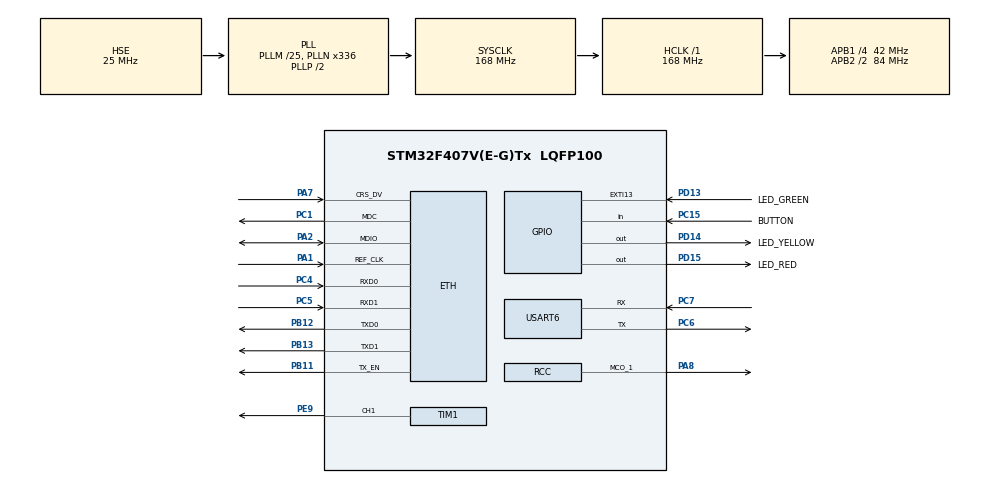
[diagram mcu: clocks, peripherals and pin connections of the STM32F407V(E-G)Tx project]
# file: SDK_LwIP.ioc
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ETH.MediaInterface=ETH_MEDIA_INTERFACE_RMII
ETH.PhyAddress=0
FREERTOS.Tasks01=tcpEcho,0,128,startTcpEcho,Default,NULL,Dynamic,NULL,NULL;loopbackConn,0,128,startLoopbackConn,Default,NULL,Dynamic,NULL,NULL
FREERTOS.configTOTAL_HEAP_SIZE=20000
LWIP.CMSIS_VERSION-Enabled=1
LWIP.GATEWAY_ADDRESS=000.000.000.000
LWIP.IP_ADDRESS=169.254.008.045
LWIP.LWIP_DHCP=0
LWIP.LWIP_HTTPD=0
LWIP.LWIP_NETIF_LOOPBACK=1
LWIP.NETMASK_ADDRESS=255.255.000.000
LWIP.Version=v2.0.3_Cube
Mcu.Family=STM32F4
Mcu.Name=STM32F407V(E-G)Tx
Mcu.Package=LQFP100
NVIC.ETH_IRQn=true\:5\:0\:false\:false\:true\:true\:false\:true\:true
NVIC.PriorityGroup=NVIC_PRIORITYGROUP_4
NVIC.TIM8_UP_TIM13_IRQn=true\:0\:0\:false\:false\:true\:false\:false\:true\:true
NVIC.TimeBase=TIM8_UP_TIM13_IRQn
NVIC.TimeBaseIP=TIM8
NVIC.USART6_IRQn=true\:5\:0\:false\:false\:true\:true\:true\:true\:true
PA1.Mode=RMII
PA1.Signal=ETH_REF_CLK
PA13.Mode=JTAG_5_pins
PA13.Signal=SYS_JTMS-SWDIO
PA14.Mode=JTAG_5_pins
PA14.Signal=SYS_JTCK-SWCLK
PA15.Mode=JTAG_5_pins
PA15.Signal=SYS_JTDI
PA2.Mode=RMII
PA2.Signal=ETH_MDIO
PA7.Mode=RMII
PA7.Signal=ETH_CRS_DV
PA8.Mode=Clock-out-1
PA8.Signal=RCC_MCO_1
PB11.Mode=RMII
PB11.Signal=ETH_TX_EN
PB12.Mode=RMII
PB12.Signal=ETH_TXD0
PB13.Mode=RMII
PB13.Signal=ETH_TXD1
PB3.Mode=JTAG_5_pins
PB3.Signal=SYS_JTDO-SWO
PB4.Mode=JTAG_5_pins
PB4.Signal=SYS_JTRST
PB8.Signal=I2C1_SCL
PB9.Signal=I2C1_SDA
PC1.Mode=RMII
PC1.Signal=ETH_MDC
PC15-OSC32_OUT.GPIO_Label=BUTTON
PC15-OSC32_OUT.Signal=GPIO_Input
PC4.Mode=RMII
PC4.Signal=ETH_RXD0
PC5.Mode=RMII
PC5.Signal=ETH_RXD1
PC6.Mode=Asynchronous
PC6.Signal=USART6_TX
PC7.Mode=Asynchronous
PC7.Signal=USART6_RX
PD13.GPIO_Label=LED_GREEN
PD13.Signal=GPXTI13
PD14.GPIO_Label=LED_YELLOW
PD14.Signal=GPIO_Output
PD15.GPIO_Label=LED_RED
PD15.Signal=GPIO_Output
PE9.Signal=S_TIM1_CH1
PH0-OSC_IN.Mode=HSE-External-Oscillator
PH0-OSC_IN.Signal=RCC_OSC_IN
PH1-OSC_OUT.Mode=HSE-External-Oscillator
PH1-OSC_OUT.Signal=RCC_OSC_OUT
ProjectManager.HeapSize=0x200
ProjectManager.StackSize=0x400
ProjectManager.TargetToolchain=STM32CubeIDE
RCC.48MHZClocksFreq_Value=84000000
RCC.AHBFreq_Value=168000000
RCC.APB1CLKDivider=RCC_HCLK_DIV4
RCC.APB1Freq_Value=42000000
RCC.APB1TimFreq_Value=84000000
RCC.APB2CLKDivider=RCC_HCLK_DIV2
RCC.APB2Freq_Value=84000000
RCC.APB2TimFreq_Value=168000000
RCC.CortexFreq_Value=168000000
RCC.EnbaleCSS=true
RCC.HCLKFreq_Value=168000000
RCC.HSE_VALUE=25000000
RCC.HSI_VALUE=16000000
RCC.LSE_VALUE=32768
RCC.PLLM=25
RCC.PLLN=336
RCC.PLLSourceVirtual=RCC_PLLSOURCE_HSE
RCC.RCC_MCO1Source=RCC_MCO1SOURCE_HSE
RCC.SYSCLKFreq_VALUE=168000000
RCC.SYSCLKSource=RCC_SYSCLKSOURCE_PLLCLK
RCC.VCOOutputFreq_Value=336000000
SH.S_TIM1_CH1.0=TIM1_CH1,PWM Generation1 CH1
TIM1.Channel-PWM\ Generation1\ CH1=TIM_CHANNEL_1
TIM1.Period=20
USART6.VirtualMode=VM_ASYNC
VP_FREERTOS_VS_CMSIS_V1.Mode=CMSIS_V1
VP_LWIP_VS_Enabled.Mode=Enabled
VP_SYS_VS_tim8.Mode=TIM8
VP_TIM1_VS_ClockSourceINT.Mode=Internal
board=custom

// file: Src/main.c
/* USER CODE BEGIN Header */
/**
  ******************************************************************************
  * @file           : main.c
  * @brief          : Main program body
  ******************************************************************************
  * @attention
  *
  * <h2><center>&copy; Copyright (c) 2019 STMicroelectronics.
  * All rights reserved.</center></h2>
  *
  * This software component is licensed by ST under Ultimate Liberty license
  * SLA0044, the "License"; You may not use this file except in compliance with
  * the License. You may obtain a copy of the License at:
  *                             www.st.com/SLA0044
  *
  ******************************************************************************
  */
/* USER CODE END Header */

#include "main.h"
#include "cmsis_os.h"
#include "lwip.h"
#include "tim.h"
#include "usart.h"
#include "gpio.h"

void SystemClock_Config(void);
void MX_FREERTOS_Init(void);

int main(void)
{

  /* MCU Configuration--------------------------------------------------------*/

  /* Reset of all peripherals, Initializes the Flash interface and the Systick. */
  HAL_Init();

  /* Configure the system clock */
  SystemClock_Config();

  /* Initialize all configured peripherals */
  MX_GPIO_Init();
  MX_USART6_UART_Init();
  MX_TIM1_Init();

  /* Call init function for freertos objects (in freertos.c) */
  MX_FREERTOS_Init();

  /* Start scheduler */
  osKernelStart();

  /* We should never get here as control is now taken by the scheduler */

  /* Infinite loop */
  while (1)
  {

  }
}

void SystemClock_Config(void)
{
  RCC_OscInitTypeDef RCC_OscInitStruct = {0};
  RCC_ClkInitTypeDef RCC_ClkInitStruct = {0};

  /** Configure the main internal regulator output voltage
  */
  __HAL_RCC_PWR_CLK_ENABLE();
  __HAL_PWR_VOLTAGESCALING_CONFIG(PWR_REGULATOR_VOLTAGE_SCALE1);
  /** Initializes the CPU, AHB and APB busses clocks
  */
  RCC_OscInitStruct.OscillatorType = RCC_OSCILLATORTYPE_HSE;
  RCC_OscInitStruct.HSEState = RCC_HSE_ON;
  RCC_OscInitStruct.PLL.PLLState = RCC_PLL_ON;
  RCC_OscInitStruct.PLL.PLLSource = RCC_PLLSOURCE_HSE;
  RCC_OscInitStruct.PLL.PLLM = 25;
  RCC_OscInitStruct.PLL.PLLN = 336;
  RCC_OscInitStruct.PLL.PLLP = RCC_PLLP_DIV2;
  RCC_OscInitStruct.PLL.PLLQ = 4;
  if (HAL_RCC_OscConfig(&RCC_OscInitStruct) != HAL_OK)
  {
    Error_Handler();
  }
  /** Initializes the CPU, AHB and APB busses clocks
  */
  RCC_ClkInitStruct.ClockType = RCC_CLOCKTYPE_HCLK|RCC_CLOCKTYPE_SYSCLK
                              |RCC_CLOCKTYPE_PCLK1|RCC_CLOCKTYPE_PCLK2;
  RCC_ClkInitStruct.SYSCLKSource = RCC_SYSCLKSOURCE_PLLCLK;
  RCC_ClkInitStruct.AHBCLKDivider = RCC_SYSCLK_DIV1;
  RCC_ClkInitStruct.APB1CLKDivider = RCC_HCLK_DIV4;
  RCC_ClkInitStruct.APB2CLKDivider = RCC_HCLK_DIV2;

  if (HAL_RCC_ClockConfig(&RCC_ClkInitStruct, FLASH_LATENCY_5) != HAL_OK)
  {
    Error_Handler();
  }
  HAL_RCC_MCOConfig(RCC_MCO1, RCC_MCO1SOURCE_HSE, RCC_MCODIV_1);
  /** Enables the Clock Security System
  */
  HAL_RCC_EnableCSS();
}

void HAL_TIM_PeriodElapsedCallback(TIM_HandleTypeDef *htim)
{
  if (htim->Instance == TIM8) {
    HAL_IncTick();
  }
}

void Error_Handler(void)
{
}

/************************ (C) COPYRIGHT STMicroelectronics *****END OF FILE****/

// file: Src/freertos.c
/* USER CODE BEGIN Header */
/**
  ******************************************************************************
  * File Name          : freertos.c
  * Description        : Code for freertos applications
  ******************************************************************************
  * @attention
  *
  * <h2><center>&copy; Copyright (c) 2023 STMicroelectronics.
  * All rights reserved.</center></h2>
  *
  * This software component is licensed by ST under Ultimate Liberty license
  * SLA0044, the "License"; You may not use this file except in compliance with
  * the License. You may obtain a copy of the License at:
  *                             www.st.com/SLA0044
  *
  ******************************************************************************
  */
/* USER CODE END Header */

#include "FreeRTOS.h"
#include "task.h"
#include "main.h"
#include "cmsis_os.h"

/* USER CODE BEGIN Includes */
#include "lwip/opt.h"
#include "lwip/sys.h"
#include "lwip/api.h"
#include "string.h"
#include "usart.h"
#include "packet_handler.h"
#include "hardware/led.h"
#include "hardware/button.h"
#include "hardware/buzzer.h"
#include "hardware/uart.h"
#include "rr.h"
/* USER CODE END Includes */

/* USER CODE BEGIN PD */
#define REPLAY 0
/* USER CODE END PD */

/* USER CODE BEGIN Variables */
uint8_t commandNumber = 12;
Command commands[12];

Led ledRed;
Led ledYellow;
Led ledGreen;
Button button;
/* USER CODE END Variables */
osThreadId tcpEchoHandle;
osThreadId loopbackConnHandle;

void startTcpEcho(void const * argument);
void startLoopbackConn(void const * argument);

extern void MX_LWIP_Init(void);
void MX_FREERTOS_Init(void); /* (MISRA C 2004 rule 8.1) */

/* GetIdleTaskMemory prototype (linked to static allocation support) */
void vApplicationGetIdleTaskMemory( StaticTask_t **ppxIdleTaskTCBBuffer, StackType_t **ppxIdleTaskStackBuffer, uint32_t *pulIdleTaskStackSize );

/* USER CODE BEGIN GET_IDLE_TASK_MEMORY */
static StaticTask_t xIdleTaskTCBBuffer;
static StackType_t xIdleStack[configMINIMAL_STACK_SIZE];

void vApplicationGetIdleTaskMemory( StaticTask_t **ppxIdleTaskTCBBuffer, StackType_t **ppxIdleTaskStackBuffer, uint32_t *pulIdleTaskStackSize )
{
  *ppxIdleTaskTCBBuffer = &xIdleTaskTCBBuffer;
  *ppxIdleTaskStackBuffer = &xIdleStack[0];
  *pulIdleTaskStackSize = configMINIMAL_STACK_SIZE;
  /* place for user code */
}
/* USER CODE END GET_IDLE_TASK_MEMORY */

void MX_FREERTOS_Init(void) {
  /* USER CODE BEGIN Init */
  ledInit(&ledRed, LED_RED_GPIO_Port, LED_RED_Pin);
  ledInit(&ledYellow, LED_YELLOW_GPIO_Port, LED_YELLOW_Pin);
  ledInit(&ledGreen, LED_GREEN_GPIO_Port, LED_GREEN_Pin);

  buttonInit(&button, BUTTON_GPIO_Port, BUTTON_Pin);

  commandCreate(&commands[0], LED_RED_GET_STATE, ledGetState, &ledRed);
  commandCreate(&commands[1], LED_RED_ON, ledSetOn, &ledRed);
  commandCreate(&commands[2], LED_RED_OFF, ledSetOff, &ledRed);
  commandCreate(&commands[3], LED_YELLOW_GET_STATE, ledGetState, &ledYellow);
  commandCreate(&commands[4], LED_YELLOW_ON, ledSetOn, &ledYellow);
  commandCreate(&commands[5], LED_YELLOW_OFF, ledSetOff, &ledYellow);
  commandCreate(&commands[6], LED_GREEN_GET_STATE, ledGetState, &ledGreen);
  commandCreate(&commands[7], LED_GREEN_ON, ledSetOn, &ledGreen);
  commandCreate(&commands[8], LED_GREEN_OFF, ledSetOff, &ledGreen);
  commandCreate(&commands[9], BUTTON_GET_STATE, buttonGetState, &button);
  commandCreate(&commands[10], BUZZER_ON, BuzzerSetOn, NULL);
  commandCreate(&commands[11], BUZZER_OFF, BuzzerSetOff, NULL);

  uartInit();
  uartEnableInterruption();
  /* USER CODE END Init */

  /* Create the thread(s) */
  /* definition and creation of tcpEcho */
  osThreadDef(tcpEcho, startTcpEcho, osPriorityNormal, 0, 128);
  tcpEchoHandle = osThreadCreate(osThread(tcpEcho), NULL);

  /* definition and creation of loopbackConn */
  osThreadDef(loopbackConn, startLoopbackConn, osPriorityNormal, 0, 128);
  loopbackConnHandle = osThreadCreate(osThread(loopbackConn), NULL);

}

void startTcpEcho(void const * argument)
{

  /* init code for LWIP */
  MX_LWIP_Init();

  /* USER CODE BEGIN startTcpEcho */
  struct netconn *conn, *newconn;
  err_t err;
  LWIP_UNUSED_ARG(argument);

  conn = netconn_new(NETCONN_TCP);

  ip4_addr_t ip_addr;
  IP4_ADDR(&ip_addr, 0, 0, 0, 0);
  netconn_bind(conn, &ip_addr, 80);

  netconn_listen(conn);
  for(;;)
  {
	    err = netconn_accept(conn, &newconn);
	    if (err == ERR_OK) {
	      struct netbuf *buf;
	      void *data;
	      u16_t len;

	      while ((err = netconn_recv(newconn, &buf)) == ERR_OK) {
	        do {
	             netbuf_data(buf, &data, &len);
	             char* response = packetHandle(data, &len, commands, &commandNumber);
	             if (!REPLAY) {
	            	 storeMessage(data, len);
	            	 netconn_write(newconn, response, strlen(response), NETCONN_COPY);
	             }
	        } while (netbuf_next(buf) >= 0);
	        netbuf_delete(buf);
	        osDelay(100);
	      }
	      netconn_close(newconn);
	      netconn_delete(newconn);
	      osDelay(100);
	    }
  }
  /* USER CODE END startTcpEcho */
}

void startLoopbackConn(void const * argument)
{
  /* USER CODE BEGIN startLoopbackConn */
	if (REPLAY) {
	  struct netconn *conn;
	  err_t err = ERROR;
	  loadMessages();
  /* Infinite loop */
	  for(;;) {
			osDelay(3000);
			conn = netconn_new(NETCONN_TCP);

			ip_addr_t dest_addr;
			IP4_ADDR(&dest_addr, 127, 0, 0, 1);
			while (err != ERR_OK) {
			    err = netconn_connect(conn, &dest_addr, 80);
			    osDelay(50);
			}

			while (!isMessageBufferEmpty()) {
			    TcpMessage message = retrieveMessage();

			    uint32_t currentTime = osKernelSysTick();
			    uint32_t delay = message.timestamp - currentTime;

			    if (delay > 0) {
			        osDelay(delay);
			    }
			    err_t write_err = netconn_write(conn, (void*) message.data, message.length, NETCONN_COPY);
			}
			osDelay(100);
	  }
	} else {
		for (;;) {
			buttonUpdateState(&button);
			uartPolling();
			if (uartHasNext()) {
				uartEcho();
			}
			commandCheck();
			osDelay(100);
		}
	}
  /* USER CODE END startLoopbackConn */
}

/************************ (C) COPYRIGHT STMicroelectronics *****END OF FILE****/
